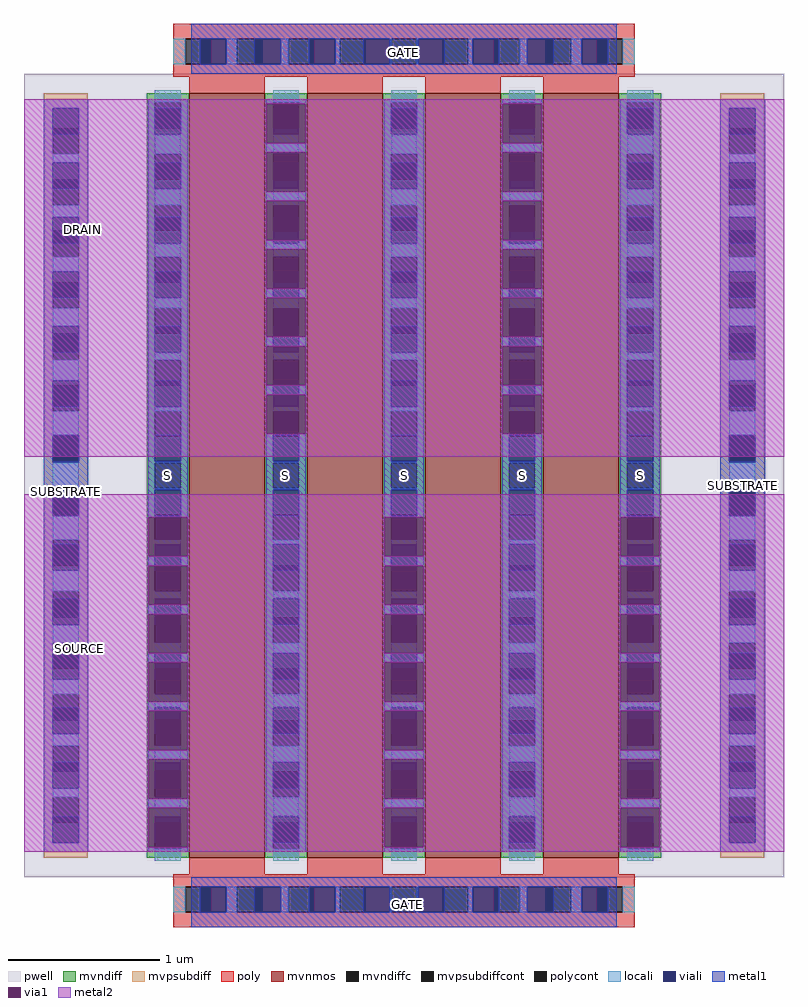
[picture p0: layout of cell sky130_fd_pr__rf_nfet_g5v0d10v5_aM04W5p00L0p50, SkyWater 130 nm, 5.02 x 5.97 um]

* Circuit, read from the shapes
.subckt sky130_fd_pr__rf_nfet_g5v0d10v5_aM04W5p00L0p50 DRAIN GATE SOURCE SUBSTRATE
XM1 DRAIN GATE SOURCE SUBSTRATE sky130_fd_pr__nfet_g5v0d10v5 w=5.05 l=0.5 m=4
.ends

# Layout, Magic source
magic
tech sky130A
magscale 1 2
<< pwell >>
rect 10 66 1014 1128
<< mvnmos >>
rect 228 92 328 1102
rect 384 92 484 1102
rect 540 92 640 1102
rect 696 92 796 1102
<< mvndiff >>
rect 172 1090 228 1102
rect 172 1056 183 1090
rect 217 1056 228 1090
rect 172 1022 228 1056
rect 172 988 183 1022
rect 217 988 228 1022
rect 172 954 228 988
rect 172 920 183 954
rect 217 920 228 954
rect 172 886 228 920
rect 172 852 183 886
rect 217 852 228 886
rect 172 818 228 852
rect 172 784 183 818
rect 217 784 228 818
rect 172 750 228 784
rect 172 716 183 750
rect 217 716 228 750
rect 172 682 228 716
rect 172 648 183 682
rect 217 648 228 682
rect 172 614 228 648
rect 172 580 183 614
rect 217 580 228 614
rect 172 546 228 580
rect 172 512 183 546
rect 217 512 228 546
rect 172 478 228 512
rect 172 444 183 478
rect 217 444 228 478
rect 172 410 228 444
rect 172 376 183 410
rect 217 376 228 410
rect 172 342 228 376
rect 172 308 183 342
rect 217 308 228 342
rect 172 274 228 308
rect 172 240 183 274
rect 217 240 228 274
rect 172 206 228 240
rect 172 172 183 206
rect 217 172 228 206
rect 172 138 228 172
rect 172 104 183 138
rect 217 104 228 138
rect 172 92 228 104
rect 328 1090 384 1102
rect 328 1056 339 1090
rect 373 1056 384 1090
rect 328 1022 384 1056
rect 328 988 339 1022
rect 373 988 384 1022
rect 328 954 384 988
rect 328 920 339 954
rect 373 920 384 954
rect 328 886 384 920
rect 328 852 339 886
rect 373 852 384 886
rect 328 818 384 852
rect 328 784 339 818
rect 373 784 384 818
rect 328 750 384 784
rect 328 716 339 750
rect 373 716 384 750
rect 328 682 384 716
rect 328 648 339 682
rect 373 648 384 682
rect 328 614 384 648
rect 328 580 339 614
rect 373 580 384 614
rect 328 546 384 580
rect 328 512 339 546
rect 373 512 384 546
rect 328 478 384 512
rect 328 444 339 478
rect 373 444 384 478
rect 328 410 384 444
rect 328 376 339 410
rect 373 376 384 410
rect 328 342 384 376
rect 328 308 339 342
rect 373 308 384 342
rect 328 274 384 308
rect 328 240 339 274
rect 373 240 384 274
rect 328 206 384 240
rect 328 172 339 206
rect 373 172 384 206
rect 328 138 384 172
rect 328 104 339 138
rect 373 104 384 138
rect 328 92 384 104
rect 484 1090 540 1102
rect 484 1056 495 1090
rect 529 1056 540 1090
rect 484 1022 540 1056
rect 484 988 495 1022
rect 529 988 540 1022
rect 484 954 540 988
rect 484 920 495 954
rect 529 920 540 954
rect 484 886 540 920
rect 484 852 495 886
rect 529 852 540 886
rect 484 818 540 852
rect 484 784 495 818
rect 529 784 540 818
rect 484 750 540 784
rect 484 716 495 750
rect 529 716 540 750
rect 484 682 540 716
rect 484 648 495 682
rect 529 648 540 682
rect 484 614 540 648
rect 484 580 495 614
rect 529 580 540 614
rect 484 546 540 580
rect 484 512 495 546
rect 529 512 540 546
rect 484 478 540 512
rect 484 444 495 478
rect 529 444 540 478
rect 484 410 540 444
rect 484 376 495 410
rect 529 376 540 410
rect 484 342 540 376
rect 484 308 495 342
rect 529 308 540 342
rect 484 274 540 308
rect 484 240 495 274
rect 529 240 540 274
rect 484 206 540 240
rect 484 172 495 206
rect 529 172 540 206
rect 484 138 540 172
rect 484 104 495 138
rect 529 104 540 138
rect 484 92 540 104
rect 640 1090 696 1102
rect 640 1056 651 1090
rect 685 1056 696 1090
rect 640 1022 696 1056
rect 640 988 651 1022
rect 685 988 696 1022
rect 640 954 696 988
rect 640 920 651 954
rect 685 920 696 954
rect 640 886 696 920
rect 640 852 651 886
rect 685 852 696 886
rect 640 818 696 852
rect 640 784 651 818
rect 685 784 696 818
rect 640 750 696 784
rect 640 716 651 750
rect 685 716 696 750
rect 640 682 696 716
rect 640 648 651 682
rect 685 648 696 682
rect 640 614 696 648
rect 640 580 651 614
rect 685 580 696 614
rect 640 546 696 580
rect 640 512 651 546
rect 685 512 696 546
rect 640 478 696 512
rect 640 444 651 478
rect 685 444 696 478
rect 640 410 696 444
rect 640 376 651 410
rect 685 376 696 410
rect 640 342 696 376
rect 640 308 651 342
rect 685 308 696 342
rect 640 274 696 308
rect 640 240 651 274
rect 685 240 696 274
rect 640 206 696 240
rect 640 172 651 206
rect 685 172 696 206
rect 640 138 696 172
rect 640 104 651 138
rect 685 104 696 138
rect 640 92 696 104
rect 796 1090 852 1102
rect 796 1056 807 1090
rect 841 1056 852 1090
rect 796 1022 852 1056
rect 796 988 807 1022
rect 841 988 852 1022
rect 796 954 852 988
rect 796 920 807 954
rect 841 920 852 954
rect 796 886 852 920
rect 796 852 807 886
rect 841 852 852 886
rect 796 818 852 852
rect 796 784 807 818
rect 841 784 852 818
rect 796 750 852 784
rect 796 716 807 750
rect 841 716 852 750
rect 796 682 852 716
rect 796 648 807 682
rect 841 648 852 682
rect 796 614 852 648
rect 796 580 807 614
rect 841 580 852 614
rect 796 546 852 580
rect 796 512 807 546
rect 841 512 852 546
rect 796 478 852 512
rect 796 444 807 478
rect 841 444 852 478
rect 796 410 852 444
rect 796 376 807 410
rect 841 376 852 410
rect 796 342 852 376
rect 796 308 807 342
rect 841 308 852 342
rect 796 274 852 308
rect 796 240 807 274
rect 841 240 852 274
rect 796 206 852 240
rect 796 172 807 206
rect 841 172 852 206
rect 796 138 852 172
rect 796 104 807 138
rect 841 104 852 138
rect 796 92 852 104
<< mvndiffc >>
rect 183 1056 217 1090
rect 183 988 217 1022
rect 183 920 217 954
rect 183 852 217 886
rect 183 784 217 818
rect 183 716 217 750
rect 183 648 217 682
rect 183 580 217 614
rect 183 512 217 546
rect 183 444 217 478
rect 183 376 217 410
rect 183 308 217 342
rect 183 240 217 274
rect 183 172 217 206
rect 183 104 217 138
rect 339 1056 373 1090
rect 339 988 373 1022
rect 339 920 373 954
rect 339 852 373 886
rect 339 784 373 818
rect 339 716 373 750
rect 339 648 373 682
rect 339 580 373 614
rect 339 512 373 546
rect 339 444 373 478
rect 339 376 373 410
rect 339 308 373 342
rect 339 240 373 274
rect 339 172 373 206
rect 339 104 373 138
rect 495 1056 529 1090
rect 495 988 529 1022
rect 495 920 529 954
rect 495 852 529 886
rect 495 784 529 818
rect 495 716 529 750
rect 495 648 529 682
rect 495 580 529 614
rect 495 512 529 546
rect 495 444 529 478
rect 495 376 529 410
rect 495 308 529 342
rect 495 240 529 274
rect 495 172 529 206
rect 495 104 529 138
rect 651 1056 685 1090
rect 651 988 685 1022
rect 651 920 685 954
rect 651 852 685 886
rect 651 784 685 818
rect 651 716 685 750
rect 651 648 685 682
rect 651 580 685 614
rect 651 512 685 546
rect 651 444 685 478
rect 651 376 685 410
rect 651 308 685 342
rect 651 240 685 274
rect 651 172 685 206
rect 651 104 685 138
rect 807 1056 841 1090
rect 807 988 841 1022
rect 807 920 841 954
rect 807 852 841 886
rect 807 784 841 818
rect 807 716 841 750
rect 807 648 841 682
rect 807 580 841 614
rect 807 512 841 546
rect 807 444 841 478
rect 807 376 841 410
rect 807 308 841 342
rect 807 240 841 274
rect 807 172 841 206
rect 807 104 841 138
<< mvpsubdiff >>
rect 36 1056 94 1102
rect 36 1022 48 1056
rect 82 1022 94 1056
rect 36 988 94 1022
rect 36 954 48 988
rect 82 954 94 988
rect 36 920 94 954
rect 36 886 48 920
rect 82 886 94 920
rect 36 852 94 886
rect 36 818 48 852
rect 82 818 94 852
rect 36 784 94 818
rect 36 750 48 784
rect 82 750 94 784
rect 36 716 94 750
rect 36 682 48 716
rect 82 682 94 716
rect 36 648 94 682
rect 36 614 48 648
rect 82 614 94 648
rect 36 580 94 614
rect 36 546 48 580
rect 82 546 94 580
rect 36 512 94 546
rect 36 478 48 512
rect 82 478 94 512
rect 36 444 94 478
rect 36 410 48 444
rect 82 410 94 444
rect 36 376 94 410
rect 36 342 48 376
rect 82 342 94 376
rect 36 308 94 342
rect 36 274 48 308
rect 82 274 94 308
rect 36 240 94 274
rect 36 206 48 240
rect 82 206 94 240
rect 36 172 94 206
rect 36 138 48 172
rect 82 138 94 172
rect 36 92 94 138
rect 930 1056 988 1102
rect 930 1022 942 1056
rect 976 1022 988 1056
rect 930 988 988 1022
rect 930 954 942 988
rect 976 954 988 988
rect 930 920 988 954
rect 930 886 942 920
rect 976 886 988 920
rect 930 852 988 886
rect 930 818 942 852
rect 976 818 988 852
rect 930 784 988 818
rect 930 750 942 784
rect 976 750 988 784
rect 930 716 988 750
rect 930 682 942 716
rect 976 682 988 716
rect 930 648 988 682
rect 930 614 942 648
rect 976 614 988 648
rect 930 580 988 614
rect 930 546 942 580
rect 976 546 988 580
rect 930 512 988 546
rect 930 478 942 512
rect 976 478 988 512
rect 930 444 988 478
rect 930 410 942 444
rect 976 410 988 444
rect 930 376 988 410
rect 930 342 942 376
rect 976 342 988 376
rect 930 308 988 342
rect 930 274 942 308
rect 976 274 988 308
rect 930 240 988 274
rect 930 206 942 240
rect 976 206 988 240
rect 930 172 988 206
rect 930 138 942 172
rect 976 138 988 172
rect 930 92 988 138
<< mvpsubdiffcont >>
rect 48 1022 82 1056
rect 48 954 82 988
rect 48 886 82 920
rect 48 818 82 852
rect 48 750 82 784
rect 48 682 82 716
rect 48 614 82 648
rect 48 546 82 580
rect 48 478 82 512
rect 48 410 82 444
rect 48 342 82 376
rect 48 274 82 308
rect 48 206 82 240
rect 48 138 82 172
rect 942 1022 976 1056
rect 942 954 976 988
rect 942 886 976 920
rect 942 818 976 852
rect 942 750 976 784
rect 942 682 976 716
rect 942 614 976 648
rect 942 546 976 580
rect 942 478 976 512
rect 942 410 976 444
rect 942 342 976 376
rect 942 274 976 308
rect 942 206 976 240
rect 942 138 976 172
<< poly >>
rect 207 1174 817 1194
rect 207 1140 223 1174
rect 257 1140 291 1174
rect 325 1140 359 1174
rect 393 1140 427 1174
rect 461 1140 495 1174
rect 529 1140 563 1174
rect 597 1140 631 1174
rect 665 1140 699 1174
rect 733 1140 767 1174
rect 801 1140 817 1174
rect 207 1124 817 1140
rect 228 1102 328 1124
rect 384 1102 484 1124
rect 540 1102 640 1124
rect 696 1102 796 1124
rect 228 70 328 92
rect 384 70 484 92
rect 540 70 640 92
rect 696 70 796 92
rect 207 54 817 70
rect 207 20 223 54
rect 257 20 291 54
rect 325 20 359 54
rect 393 20 427 54
rect 461 20 495 54
rect 529 20 563 54
rect 597 20 631 54
rect 665 20 699 54
rect 733 20 767 54
rect 801 20 817 54
rect 207 0 817 20
<< polycont >>
rect 223 1140 257 1174
rect 291 1140 325 1174
rect 359 1140 393 1174
rect 427 1140 461 1174
rect 495 1140 529 1174
rect 563 1140 597 1174
rect 631 1140 665 1174
rect 699 1140 733 1174
rect 767 1140 801 1174
rect 223 20 257 54
rect 291 20 325 54
rect 359 20 393 54
rect 427 20 461 54
rect 495 20 529 54
rect 563 20 597 54
rect 631 20 665 54
rect 699 20 733 54
rect 767 20 801 54
<< locali >>
rect 207 1140 223 1174
rect 277 1140 291 1174
rect 349 1140 359 1174
rect 421 1140 427 1174
rect 493 1140 495 1174
rect 529 1140 531 1174
rect 597 1140 603 1174
rect 665 1140 675 1174
rect 733 1140 747 1174
rect 801 1140 817 1174
rect 183 1090 217 1106
rect 48 1010 82 1022
rect 48 938 82 954
rect 48 866 82 886
rect 48 794 82 818
rect 48 722 82 750
rect 48 650 82 682
rect 48 580 82 614
rect 48 512 82 544
rect 48 444 82 472
rect 48 376 82 400
rect 48 308 82 328
rect 48 240 82 256
rect 48 172 82 184
rect 183 1022 217 1048
rect 183 954 217 976
rect 183 886 217 904
rect 183 818 217 832
rect 183 750 217 760
rect 183 682 217 688
rect 183 614 217 616
rect 183 578 217 580
rect 183 506 217 512
rect 183 434 217 444
rect 183 362 217 376
rect 183 290 217 308
rect 183 218 217 240
rect 183 146 217 172
rect 183 88 217 104
rect 339 1090 373 1106
rect 339 1022 373 1048
rect 339 954 373 976
rect 339 886 373 904
rect 339 818 373 832
rect 339 750 373 760
rect 339 682 373 688
rect 339 614 373 616
rect 339 578 373 580
rect 339 506 373 512
rect 339 434 373 444
rect 339 362 373 376
rect 339 290 373 308
rect 339 218 373 240
rect 339 146 373 172
rect 339 88 373 104
rect 495 1090 529 1106
rect 495 1022 529 1048
rect 495 954 529 976
rect 495 886 529 904
rect 495 818 529 832
rect 495 750 529 760
rect 495 682 529 688
rect 495 614 529 616
rect 495 578 529 580
rect 495 506 529 512
rect 495 434 529 444
rect 495 362 529 376
rect 495 290 529 308
rect 495 218 529 240
rect 495 146 529 172
rect 495 88 529 104
rect 651 1090 685 1106
rect 651 1022 685 1048
rect 651 954 685 976
rect 651 886 685 904
rect 651 818 685 832
rect 651 750 685 760
rect 651 682 685 688
rect 651 614 685 616
rect 651 578 685 580
rect 651 506 685 512
rect 651 434 685 444
rect 651 362 685 376
rect 651 290 685 308
rect 651 218 685 240
rect 651 146 685 172
rect 651 88 685 104
rect 807 1090 841 1106
rect 807 1022 841 1048
rect 807 954 841 976
rect 807 886 841 904
rect 807 818 841 832
rect 807 750 841 760
rect 807 682 841 688
rect 807 614 841 616
rect 807 578 841 580
rect 807 506 841 512
rect 807 434 841 444
rect 807 362 841 376
rect 807 290 841 308
rect 807 218 841 240
rect 807 146 841 172
rect 942 1010 976 1022
rect 942 938 976 954
rect 942 866 976 886
rect 942 794 976 818
rect 942 722 976 750
rect 942 650 976 682
rect 942 580 976 614
rect 942 512 976 544
rect 942 444 976 472
rect 942 376 976 400
rect 942 308 976 328
rect 942 240 976 256
rect 942 172 976 184
rect 807 88 841 104
rect 207 20 223 54
rect 277 20 291 54
rect 349 20 359 54
rect 421 20 427 54
rect 493 20 495 54
rect 529 20 531 54
rect 597 20 603 54
rect 665 20 675 54
rect 733 20 747 54
rect 801 20 817 54
<< viali >>
rect 243 1140 257 1174
rect 257 1140 277 1174
rect 315 1140 325 1174
rect 325 1140 349 1174
rect 387 1140 393 1174
rect 393 1140 421 1174
rect 459 1140 461 1174
rect 461 1140 493 1174
rect 531 1140 563 1174
rect 563 1140 565 1174
rect 603 1140 631 1174
rect 631 1140 637 1174
rect 675 1140 699 1174
rect 699 1140 709 1174
rect 747 1140 767 1174
rect 767 1140 781 1174
rect 48 1056 82 1082
rect 48 1048 82 1056
rect 48 988 82 1010
rect 48 976 82 988
rect 48 920 82 938
rect 48 904 82 920
rect 48 852 82 866
rect 48 832 82 852
rect 48 784 82 794
rect 48 760 82 784
rect 48 716 82 722
rect 48 688 82 716
rect 48 648 82 650
rect 48 616 82 648
rect 48 546 82 578
rect 48 544 82 546
rect 48 478 82 506
rect 48 472 82 478
rect 48 410 82 434
rect 48 400 82 410
rect 48 342 82 362
rect 48 328 82 342
rect 48 274 82 290
rect 48 256 82 274
rect 48 206 82 218
rect 48 184 82 206
rect 48 138 82 146
rect 48 112 82 138
rect 183 1056 217 1082
rect 183 1048 217 1056
rect 183 988 217 1010
rect 183 976 217 988
rect 183 920 217 938
rect 183 904 217 920
rect 183 852 217 866
rect 183 832 217 852
rect 183 784 217 794
rect 183 760 217 784
rect 183 716 217 722
rect 183 688 217 716
rect 183 648 217 650
rect 183 616 217 648
rect 183 546 217 578
rect 183 544 217 546
rect 183 478 217 506
rect 183 472 217 478
rect 183 410 217 434
rect 183 400 217 410
rect 183 342 217 362
rect 183 328 217 342
rect 183 274 217 290
rect 183 256 217 274
rect 183 206 217 218
rect 183 184 217 206
rect 183 138 217 146
rect 183 112 217 138
rect 339 1056 373 1082
rect 339 1048 373 1056
rect 339 988 373 1010
rect 339 976 373 988
rect 339 920 373 938
rect 339 904 373 920
rect 339 852 373 866
rect 339 832 373 852
rect 339 784 373 794
rect 339 760 373 784
rect 339 716 373 722
rect 339 688 373 716
rect 339 648 373 650
rect 339 616 373 648
rect 339 546 373 578
rect 339 544 373 546
rect 339 478 373 506
rect 339 472 373 478
rect 339 410 373 434
rect 339 400 373 410
rect 339 342 373 362
rect 339 328 373 342
rect 339 274 373 290
rect 339 256 373 274
rect 339 206 373 218
rect 339 184 373 206
rect 339 138 373 146
rect 339 112 373 138
rect 495 1056 529 1082
rect 495 1048 529 1056
rect 495 988 529 1010
rect 495 976 529 988
rect 495 920 529 938
rect 495 904 529 920
rect 495 852 529 866
rect 495 832 529 852
rect 495 784 529 794
rect 495 760 529 784
rect 495 716 529 722
rect 495 688 529 716
rect 495 648 529 650
rect 495 616 529 648
rect 495 546 529 578
rect 495 544 529 546
rect 495 478 529 506
rect 495 472 529 478
rect 495 410 529 434
rect 495 400 529 410
rect 495 342 529 362
rect 495 328 529 342
rect 495 274 529 290
rect 495 256 529 274
rect 495 206 529 218
rect 495 184 529 206
rect 495 138 529 146
rect 495 112 529 138
rect 651 1056 685 1082
rect 651 1048 685 1056
rect 651 988 685 1010
rect 651 976 685 988
rect 651 920 685 938
rect 651 904 685 920
rect 651 852 685 866
rect 651 832 685 852
rect 651 784 685 794
rect 651 760 685 784
rect 651 716 685 722
rect 651 688 685 716
rect 651 648 685 650
rect 651 616 685 648
rect 651 546 685 578
rect 651 544 685 546
rect 651 478 685 506
rect 651 472 685 478
rect 651 410 685 434
rect 651 400 685 410
rect 651 342 685 362
rect 651 328 685 342
rect 651 274 685 290
rect 651 256 685 274
rect 651 206 685 218
rect 651 184 685 206
rect 651 138 685 146
rect 651 112 685 138
rect 807 1056 841 1082
rect 807 1048 841 1056
rect 807 988 841 1010
rect 807 976 841 988
rect 807 920 841 938
rect 807 904 841 920
rect 807 852 841 866
rect 807 832 841 852
rect 807 784 841 794
rect 807 760 841 784
rect 807 716 841 722
rect 807 688 841 716
rect 807 648 841 650
rect 807 616 841 648
rect 807 546 841 578
rect 807 544 841 546
rect 807 478 841 506
rect 807 472 841 478
rect 807 410 841 434
rect 807 400 841 410
rect 807 342 841 362
rect 807 328 841 342
rect 807 274 841 290
rect 807 256 841 274
rect 807 206 841 218
rect 807 184 841 206
rect 807 138 841 146
rect 807 112 841 138
rect 942 1056 976 1082
rect 942 1048 976 1056
rect 942 988 976 1010
rect 942 976 976 988
rect 942 920 976 938
rect 942 904 976 920
rect 942 852 976 866
rect 942 832 976 852
rect 942 784 976 794
rect 942 760 976 784
rect 942 716 976 722
rect 942 688 976 716
rect 942 648 976 650
rect 942 616 976 648
rect 942 546 976 578
rect 942 544 976 546
rect 942 478 976 506
rect 942 472 976 478
rect 942 410 976 434
rect 942 400 976 410
rect 942 342 976 362
rect 942 328 976 342
rect 942 274 976 290
rect 942 256 976 274
rect 942 206 976 218
rect 942 184 976 206
rect 942 138 976 146
rect 942 112 976 138
rect 243 20 257 54
rect 257 20 277 54
rect 315 20 325 54
rect 325 20 349 54
rect 387 20 393 54
rect 393 20 421 54
rect 459 20 461 54
rect 461 20 493 54
rect 531 20 563 54
rect 563 20 565 54
rect 603 20 631 54
rect 631 20 637 54
rect 675 20 699 54
rect 699 20 709 54
rect 747 20 767 54
rect 767 20 781 54
<< metal1 >>
rect 231 1174 793 1194
rect 231 1140 243 1174
rect 277 1140 315 1174
rect 349 1140 387 1174
rect 421 1140 459 1174
rect 493 1140 531 1174
rect 565 1140 603 1174
rect 637 1140 675 1174
rect 709 1140 747 1174
rect 781 1140 793 1174
rect 231 1128 793 1140
rect 36 1082 95 1094
rect 36 1048 48 1082
rect 82 1048 95 1082
rect 36 1010 95 1048
rect 36 976 48 1010
rect 82 976 95 1010
rect 36 938 95 976
rect 36 904 48 938
rect 82 904 95 938
rect 36 866 95 904
rect 36 832 48 866
rect 82 832 95 866
rect 36 794 95 832
rect 36 760 48 794
rect 82 760 95 794
rect 36 722 95 760
rect 36 688 48 722
rect 82 688 95 722
rect 36 650 95 688
rect 36 616 48 650
rect 82 616 95 650
rect 36 578 95 616
rect 36 544 48 578
rect 82 544 95 578
rect 36 506 95 544
rect 36 472 48 506
rect 82 472 95 506
rect 36 434 95 472
rect 36 400 48 434
rect 82 400 95 434
rect 36 362 95 400
rect 36 328 48 362
rect 82 328 95 362
rect 36 290 95 328
rect 36 256 48 290
rect 82 256 95 290
rect 36 218 95 256
rect 36 184 48 218
rect 82 184 95 218
rect 36 146 95 184
rect 36 112 48 146
rect 82 112 95 146
rect 36 100 95 112
rect 174 1082 226 1094
rect 174 1048 183 1082
rect 217 1048 226 1082
rect 174 1010 226 1048
rect 174 976 183 1010
rect 217 976 226 1010
rect 174 938 226 976
rect 174 904 183 938
rect 217 904 226 938
rect 174 866 226 904
rect 174 832 183 866
rect 217 832 226 866
rect 174 794 226 832
rect 174 760 183 794
rect 217 760 226 794
rect 174 722 226 760
rect 174 688 183 722
rect 217 688 226 722
rect 174 650 226 688
rect 174 616 183 650
rect 217 616 226 650
rect 174 578 226 616
rect 174 544 183 578
rect 217 544 226 578
rect 174 542 226 544
rect 174 478 183 490
rect 217 478 226 490
rect 174 414 183 426
rect 217 414 226 426
rect 174 350 183 362
rect 217 350 226 362
rect 174 290 226 298
rect 174 286 183 290
rect 217 286 226 290
rect 174 222 226 234
rect 174 158 226 170
rect 174 100 226 106
rect 330 1088 382 1094
rect 330 1024 382 1036
rect 330 960 382 972
rect 330 904 339 908
rect 373 904 382 908
rect 330 896 382 904
rect 330 832 339 844
rect 373 832 382 844
rect 330 768 339 780
rect 373 768 382 780
rect 330 704 339 716
rect 373 704 382 716
rect 330 650 382 652
rect 330 616 339 650
rect 373 616 382 650
rect 330 578 382 616
rect 330 544 339 578
rect 373 544 382 578
rect 330 506 382 544
rect 330 472 339 506
rect 373 472 382 506
rect 330 434 382 472
rect 330 400 339 434
rect 373 400 382 434
rect 330 362 382 400
rect 330 328 339 362
rect 373 328 382 362
rect 330 290 382 328
rect 330 256 339 290
rect 373 256 382 290
rect 330 218 382 256
rect 330 184 339 218
rect 373 184 382 218
rect 330 146 382 184
rect 330 112 339 146
rect 373 112 382 146
rect 330 100 382 112
rect 486 1082 538 1094
rect 486 1048 495 1082
rect 529 1048 538 1082
rect 486 1010 538 1048
rect 486 976 495 1010
rect 529 976 538 1010
rect 486 938 538 976
rect 486 904 495 938
rect 529 904 538 938
rect 486 866 538 904
rect 486 832 495 866
rect 529 832 538 866
rect 486 794 538 832
rect 486 760 495 794
rect 529 760 538 794
rect 486 722 538 760
rect 486 688 495 722
rect 529 688 538 722
rect 486 650 538 688
rect 486 616 495 650
rect 529 616 538 650
rect 486 578 538 616
rect 486 544 495 578
rect 529 544 538 578
rect 486 542 538 544
rect 486 478 495 490
rect 529 478 538 490
rect 486 414 495 426
rect 529 414 538 426
rect 486 350 495 362
rect 529 350 538 362
rect 486 290 538 298
rect 486 286 495 290
rect 529 286 538 290
rect 486 222 538 234
rect 486 158 538 170
rect 486 100 538 106
rect 642 1088 694 1094
rect 642 1024 694 1036
rect 642 960 694 972
rect 642 904 651 908
rect 685 904 694 908
rect 642 896 694 904
rect 642 832 651 844
rect 685 832 694 844
rect 642 768 651 780
rect 685 768 694 780
rect 642 704 651 716
rect 685 704 694 716
rect 642 650 694 652
rect 642 616 651 650
rect 685 616 694 650
rect 642 578 694 616
rect 642 544 651 578
rect 685 544 694 578
rect 642 506 694 544
rect 642 472 651 506
rect 685 472 694 506
rect 642 434 694 472
rect 642 400 651 434
rect 685 400 694 434
rect 642 362 694 400
rect 642 328 651 362
rect 685 328 694 362
rect 642 290 694 328
rect 642 256 651 290
rect 685 256 694 290
rect 642 218 694 256
rect 642 184 651 218
rect 685 184 694 218
rect 642 146 694 184
rect 642 112 651 146
rect 685 112 694 146
rect 642 100 694 112
rect 798 1082 850 1094
rect 798 1048 807 1082
rect 841 1048 850 1082
rect 798 1010 850 1048
rect 798 976 807 1010
rect 841 976 850 1010
rect 798 938 850 976
rect 798 904 807 938
rect 841 904 850 938
rect 798 866 850 904
rect 798 832 807 866
rect 841 832 850 866
rect 798 794 850 832
rect 798 760 807 794
rect 841 760 850 794
rect 798 722 850 760
rect 798 688 807 722
rect 841 688 850 722
rect 798 650 850 688
rect 798 616 807 650
rect 841 616 850 650
rect 798 578 850 616
rect 798 544 807 578
rect 841 544 850 578
rect 798 542 850 544
rect 798 478 807 490
rect 841 478 850 490
rect 798 414 807 426
rect 841 414 850 426
rect 798 350 807 362
rect 841 350 850 362
rect 798 290 850 298
rect 798 286 807 290
rect 841 286 850 290
rect 798 222 850 234
rect 798 158 850 170
rect 798 100 850 106
rect 930 1082 989 1094
rect 930 1048 942 1082
rect 976 1048 989 1082
rect 930 1010 989 1048
rect 930 976 942 1010
rect 976 976 989 1010
rect 930 938 989 976
rect 930 904 942 938
rect 976 904 989 938
rect 930 866 989 904
rect 930 832 942 866
rect 976 832 989 866
rect 930 794 989 832
rect 930 760 942 794
rect 976 760 989 794
rect 930 722 989 760
rect 930 688 942 722
rect 976 688 989 722
rect 930 650 989 688
rect 930 616 942 650
rect 976 616 989 650
rect 930 578 989 616
rect 930 544 942 578
rect 976 544 989 578
rect 930 506 989 544
rect 930 472 942 506
rect 976 472 989 506
rect 930 434 989 472
rect 930 400 942 434
rect 976 400 989 434
rect 930 362 989 400
rect 930 328 942 362
rect 976 328 989 362
rect 930 290 989 328
rect 930 256 942 290
rect 976 256 989 290
rect 930 218 989 256
rect 930 184 942 218
rect 976 184 989 218
rect 930 146 989 184
rect 930 112 942 146
rect 976 112 989 146
rect 930 100 989 112
rect 231 54 793 66
rect 231 20 243 54
rect 277 20 315 54
rect 349 20 387 54
rect 421 20 459 54
rect 493 20 531 54
rect 565 20 603 54
rect 637 20 675 54
rect 709 20 747 54
rect 781 20 793 54
rect 231 0 793 20
<< via1 >>
rect 174 506 226 542
rect 174 490 183 506
rect 183 490 217 506
rect 217 490 226 506
rect 174 472 183 478
rect 183 472 217 478
rect 217 472 226 478
rect 174 434 226 472
rect 174 426 183 434
rect 183 426 217 434
rect 217 426 226 434
rect 174 400 183 414
rect 183 400 217 414
rect 217 400 226 414
rect 174 362 226 400
rect 174 328 183 350
rect 183 328 217 350
rect 217 328 226 350
rect 174 298 226 328
rect 174 256 183 286
rect 183 256 217 286
rect 217 256 226 286
rect 174 234 226 256
rect 174 218 226 222
rect 174 184 183 218
rect 183 184 217 218
rect 217 184 226 218
rect 174 170 226 184
rect 174 146 226 158
rect 174 112 183 146
rect 183 112 217 146
rect 217 112 226 146
rect 174 106 226 112
rect 330 1082 382 1088
rect 330 1048 339 1082
rect 339 1048 373 1082
rect 373 1048 382 1082
rect 330 1036 382 1048
rect 330 1010 382 1024
rect 330 976 339 1010
rect 339 976 373 1010
rect 373 976 382 1010
rect 330 972 382 976
rect 330 938 382 960
rect 330 908 339 938
rect 339 908 373 938
rect 373 908 382 938
rect 330 866 382 896
rect 330 844 339 866
rect 339 844 373 866
rect 373 844 382 866
rect 330 794 382 832
rect 330 780 339 794
rect 339 780 373 794
rect 373 780 382 794
rect 330 760 339 768
rect 339 760 373 768
rect 373 760 382 768
rect 330 722 382 760
rect 330 716 339 722
rect 339 716 373 722
rect 373 716 382 722
rect 330 688 339 704
rect 339 688 373 704
rect 373 688 382 704
rect 330 652 382 688
rect 486 506 538 542
rect 486 490 495 506
rect 495 490 529 506
rect 529 490 538 506
rect 486 472 495 478
rect 495 472 529 478
rect 529 472 538 478
rect 486 434 538 472
rect 486 426 495 434
rect 495 426 529 434
rect 529 426 538 434
rect 486 400 495 414
rect 495 400 529 414
rect 529 400 538 414
rect 486 362 538 400
rect 486 328 495 350
rect 495 328 529 350
rect 529 328 538 350
rect 486 298 538 328
rect 486 256 495 286
rect 495 256 529 286
rect 529 256 538 286
rect 486 234 538 256
rect 486 218 538 222
rect 486 184 495 218
rect 495 184 529 218
rect 529 184 538 218
rect 486 170 538 184
rect 486 146 538 158
rect 486 112 495 146
rect 495 112 529 146
rect 529 112 538 146
rect 486 106 538 112
rect 642 1082 694 1088
rect 642 1048 651 1082
rect 651 1048 685 1082
rect 685 1048 694 1082
rect 642 1036 694 1048
rect 642 1010 694 1024
rect 642 976 651 1010
rect 651 976 685 1010
rect 685 976 694 1010
rect 642 972 694 976
rect 642 938 694 960
rect 642 908 651 938
rect 651 908 685 938
rect 685 908 694 938
rect 642 866 694 896
rect 642 844 651 866
rect 651 844 685 866
rect 685 844 694 866
rect 642 794 694 832
rect 642 780 651 794
rect 651 780 685 794
rect 685 780 694 794
rect 642 760 651 768
rect 651 760 685 768
rect 685 760 694 768
rect 642 722 694 760
rect 642 716 651 722
rect 651 716 685 722
rect 685 716 694 722
rect 642 688 651 704
rect 651 688 685 704
rect 685 688 694 704
rect 642 652 694 688
rect 798 506 850 542
rect 798 490 807 506
rect 807 490 841 506
rect 841 490 850 506
rect 798 472 807 478
rect 807 472 841 478
rect 841 472 850 478
rect 798 434 850 472
rect 798 426 807 434
rect 807 426 841 434
rect 841 426 850 434
rect 798 400 807 414
rect 807 400 841 414
rect 841 400 850 414
rect 798 362 850 400
rect 798 328 807 350
rect 807 328 841 350
rect 841 328 850 350
rect 798 298 850 328
rect 798 256 807 286
rect 807 256 841 286
rect 841 256 850 286
rect 798 234 850 256
rect 798 218 850 222
rect 798 184 807 218
rect 807 184 841 218
rect 841 184 850 218
rect 798 170 850 184
rect 798 146 850 158
rect 798 112 807 146
rect 807 112 841 146
rect 841 112 850 146
rect 798 106 850 112
<< metal2 >>
rect 10 1088 1014 1094
rect 10 1036 330 1088
rect 382 1036 642 1088
rect 694 1036 1014 1088
rect 10 1024 1014 1036
rect 10 972 330 1024
rect 382 972 642 1024
rect 694 972 1014 1024
rect 10 960 1014 972
rect 10 908 330 960
rect 382 908 642 960
rect 694 908 1014 960
rect 10 896 1014 908
rect 10 844 330 896
rect 382 844 642 896
rect 694 844 1014 896
rect 10 832 1014 844
rect 10 780 330 832
rect 382 780 642 832
rect 694 780 1014 832
rect 10 768 1014 780
rect 10 716 330 768
rect 382 716 642 768
rect 694 716 1014 768
rect 10 704 1014 716
rect 10 652 330 704
rect 382 652 642 704
rect 694 652 1014 704
rect 10 622 1014 652
rect 10 542 1014 572
rect 10 490 174 542
rect 226 490 486 542
rect 538 490 798 542
rect 850 490 1014 542
rect 10 478 1014 490
rect 10 426 174 478
rect 226 426 486 478
rect 538 426 798 478
rect 850 426 1014 478
rect 10 414 1014 426
rect 10 362 174 414
rect 226 362 486 414
rect 538 362 798 414
rect 850 362 1014 414
rect 10 350 1014 362
rect 10 298 174 350
rect 226 298 486 350
rect 538 298 798 350
rect 850 298 1014 350
rect 10 286 1014 298
rect 10 234 174 286
rect 226 234 486 286
rect 538 234 798 286
rect 850 234 1014 286
rect 10 222 1014 234
rect 10 170 174 222
rect 226 170 486 222
rect 538 170 798 222
rect 850 170 1014 222
rect 10 158 1014 170
rect 10 106 174 158
rect 226 106 486 158
rect 538 106 798 158
rect 850 106 1014 158
rect 10 100 1014 106
<< labels >>
flabel comment s 200 597 200 597 0 FreeSans 300 0 0 0 S
flabel comment s 200 597 200 597 0 FreeSans 300 0 0 0 S
flabel comment s 356 597 356 597 0 FreeSans 300 0 0 0 S
flabel comment s 356 597 356 597 0 FreeSans 300 0 0 0 D
flabel comment s 512 597 512 597 0 FreeSans 300 0 0 0 S
flabel comment s 512 597 512 597 0 FreeSans 300 0 0 0 S
flabel comment s 668 597 668 597 0 FreeSans 300 0 0 0 S
flabel comment s 668 597 668 597 0 FreeSans 300 0 0 0 D
flabel comment s 824 597 824 597 0 FreeSans 300 0 0 0 S
flabel metal2 s 32 894 143 951 0 FreeSans 200 0 0 0 DRAIN
port 1 nsew
flabel metal2 s 32 345 134 391 0 FreeSans 200 0 0 0 SOURCE
port 3 nsew
flabel metal1 s 948 494 972 674 0 FreeSans 200 90 0 0 SUBSTRATE
port 4 nsew
flabel metal1 s 54 480 79 671 0 FreeSans 200 90 0 0 SUBSTRATE
port 4 nsew
flabel metal1 s 448 9 585 51 0 FreeSans 200 0 0 0 GATE
port 2 nsew
flabel metal1 s 443 1136 579 1176 0 FreeSans 200 0 0 0 GATE
port 2 nsew
<< properties >>
string GDS_FILE $PDKPATH/libs.ref/sky130_fd_pr/gds/sky130_fd_pr.gds
string GDS_END 7502090
string GDS_START 7479128
<< end >>
